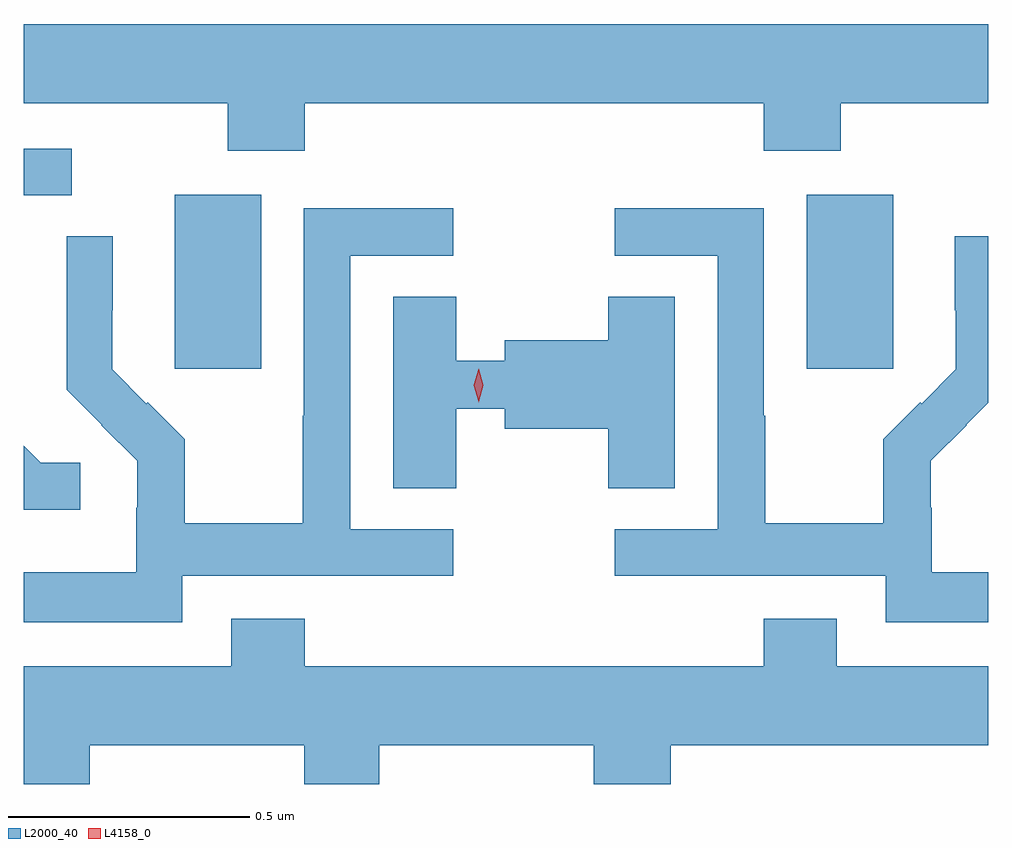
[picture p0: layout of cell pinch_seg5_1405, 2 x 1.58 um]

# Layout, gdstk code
import gdstk
lib = gdstk.Library(unit=1e-6, precision=1e-09)
def R(c, l, rs):  # rectangles x0, y0, x1, y1
    for r in rs: c.add(gdstk.rectangle(r[:2], r[2:], *l))
def P(c, l, *ps):  # polygons
    for p in ps: c.add(gdstk.Polygon(p, *l))
L2000_40 = (2000, 40)
L4158_0 = (4158, 0)

pinch_seg5_1405 = lib.new_cell('pinch_seg5_1405')
R(pinch_seg5_1405, L2000_40, [(313.418,909.489,313.597,909.85), (314.729,909.489,314.908,909.85), (313.105,909.849,313.204,909.945)])
P(pinch_seg5_1405, L2000_40, [(313.688,910.04),(314.639,910.04),(314.639,909.941),(314.799,909.941),(314.799,910.04),(315.105,910.04),(315.105,910.204),(313.105,910.204),(313.105,910.04),(313.528,910.04),(313.528,909.941),(313.688,909.941)],
  [(313.434,909.06),(313.996,909.06),(313.996,909.156),(313.782,909.156),(313.782,909.723),(313.996,909.723),(313.996,909.822),(313.686,909.822),(313.686,909.392),(313.684,909.392),(313.684,909.169),(313.439,909.169),(313.439,909.343),(313.362,909.42),(313.359,909.417),(313.289,909.488),(313.289,909.61),(313.29,909.61),(313.29,909.764),(313.194,909.764),(313.194,909.446),(313.267,909.373),(313.266,909.372),(313.34,909.298),(313.34,909.201),(313.338,909.201),(313.338,909.067),(313.105,909.067),(313.105,908.963),(313.434,908.963)],
  [(315.105,909.067),(314.988,909.067),(314.988,909.201),(314.986,909.201),(314.986,909.298),(315.06,909.372),(315.059,909.373),(315.105,909.419),(315.105,909.764),(315.036,909.764),(315.036,909.61),(315.038,909.61),(315.038,909.488),(314.967,909.417),(314.964,909.42),(314.887,909.343),(314.887,909.169),(314.643,909.169),(314.643,909.392),(314.64,909.392),(314.64,909.822),(314.331,909.822),(314.331,909.723),(314.544,909.723),(314.544,909.156),(314.331,909.156),(314.331,909.06),(314.892,909.06),(314.892,908.963),(315.105,908.963)],
  [(314.002,909.406),(314.102,909.406),(314.102,909.365),(314.317,909.365),(314.317,909.241),(314.455,909.241),(314.455,909.638),(314.317,909.638),(314.317,909.548),(314.102,909.548),(314.102,909.506),(314.002,909.506),(314.002,909.638),(313.871,909.638),(313.871,909.241),(314.002,909.241)],
  [(313.222,909.294),(313.14,909.294),(313.105,909.329),(313.105,909.197),(313.222,909.197)],
  [(313.242,908.708),(313.687,908.708),(313.687,908.628),(313.842,908.628),(313.842,908.708),(314.287,908.708),(314.287,908.628),(314.447,908.628),(314.447,908.708),(315.105,908.708),(315.105,908.872),(314.791,908.872),(314.791,908.971),(314.639,908.971),(314.639,908.872),(313.688,908.872),(313.688,908.971),(313.535,908.971),(313.535,908.872),(313.105,908.872),(313.105,908.628),(313.242,908.628)])
P(pinch_seg5_1405, L4158_0, [(314.048,909.42),(314.048,909.421),(314.038,909.455),(314.048,909.489),(314.048,909.489),(314.049,909.489),(314.058,909.455),(314.049,909.421)])

lib.write_gds('pinch_seg5_1405.gds')
